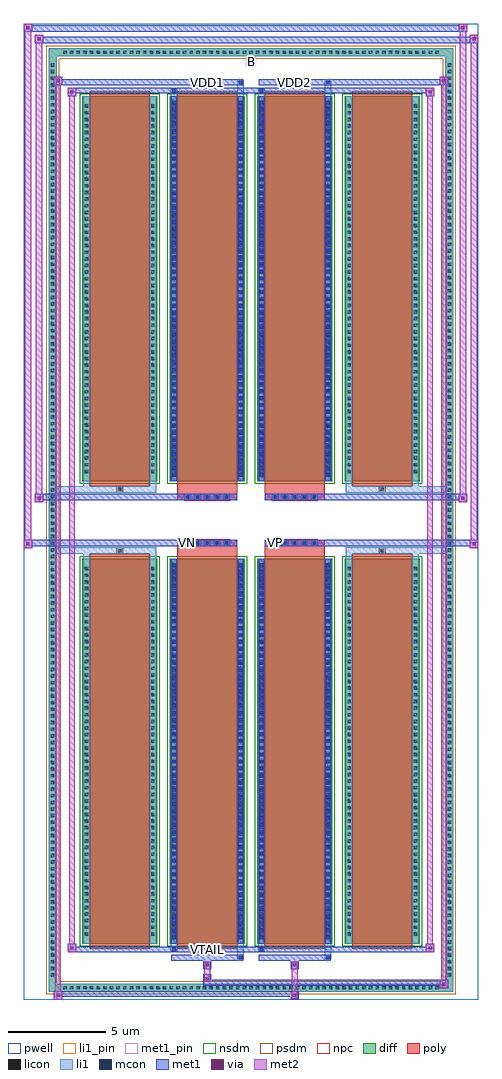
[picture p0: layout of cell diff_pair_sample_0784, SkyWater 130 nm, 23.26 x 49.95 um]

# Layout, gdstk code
import gdstk
lib = gdstk.Library(unit=1e-6, precision=5e-09)
def R(c, l, rs):  # rectangles x0, y0, x1, y1
    for r in rs: c.add(gdstk.rectangle(r[:2], r[2:], *l))
def A(c, l, x, y, w, h, nx, ny, dx, dy):  # array of equal rectangles
    R(c, l, [(x+i*dx, y+j*dy, x+i*dx+w, y+j*dy+h) for i in range(nx) for j in range(ny)])
def P(c, l, *ps):  # polygons
    for p in ps: c.add(gdstk.Polygon(p, *l))
pwell = (64, 44)
diff = (65, 20)
poly = (66, 20)
licon = (66, 44)
li1_pin = (67, 16)
li1 = (67, 20)
mcon = (67, 44)
met1_pin = (68, 16)
met1 = (68, 20)
via = (68, 44)
met2 = (69, 20)
nsdm = (93, 44)
psdm = (94, 20)
npc = (95, 20)

diff_pair_sample_0784 = lib.new_cell('diff_pair_sample_0784')
R(diff_pair_sample_0784, pwell, [(-11.63,-24.54,11.63,25.41), (-8.95,-22.73,-0.01,-0.805), (0.01,-22.73,8.95,-0.805), (-8.95,0.805,-0.01,22.73), (0.01,0.805,8.95,22.73)])
A(diff_pair_sample_0784, diff, -9.725, -24.14, 0.41, 0.41, 57, 2, 0.34, 47.87)
A(diff_pair_sample_0784, diff, -10.36, -23.495, 0.41, 0.41, 1, 138, 0, 0.34)
A(diff_pair_sample_0784, diff, 9.95, -23.495, 0.41, 0.41, 1, 138, 0, 0.34)
A(diff_pair_sample_0784, diff, -8.64, -21.685, 3.84, 19.7, 4, 2, 4.48, 23.67)
R(diff_pair_sample_0784, diff, [(-9.725,-24.14,9.725,-23.73), (-10.36,-23.495,-9.95,23.495), (9.95,-23.495,10.36,23.495), (-9.725,23.73,9.725,24.14)])
P(diff_pair_sample_0784, diff, [(10.36,24.14),(-10.36,24.14),(-10.36,-23.73),(-9.95,-23.73),(-9.95,23.73),(9.95,23.73),(9.95,-23.73),(-9.95,-23.73),(-10.36,-23.73),(-10.36,-24.14),(10.36,-24.14)])
A(diff_pair_sample_0784, poly, -8.25, -21.935, 3.06, 20.2, 4, 2, 4.48, 23.67)
A(diff_pair_sample_0784, poly, -3.405, -1.335, 0.33, 0.33, 5, 2, 0.5, 2.34)
A(diff_pair_sample_0784, poly, 1.075, -1.335, 0.33, 0.33, 5, 2, 0.5, 2.34)
R(diff_pair_sample_0784, poly, [(-6.885,-1.735,-6.555,-1.405), (-6.885,-1.735,-6.555,-1.405), (-3.77,-1.735,-0.71,-1.335), (0.71,-1.735,3.77,-1.335), (6.555,-1.735,6.885,-1.405), (6.555,-1.735,6.885,-1.405), (-3.77,-1.335,-0.71,-1.005), (0.71,-1.335,3.77,-1.005), (-3.77,1.005,-0.71,1.335), (0.71,1.005,3.77,1.335), (-3.77,1.335,-0.71,1.735), (0.71,1.335,3.77,1.735), (-6.885,1.405,-6.555,1.735), (-6.885,1.405,-6.555,1.735), (6.555,1.405,6.885,1.735), (6.555,1.405,6.885,1.735)])
A(diff_pair_sample_0784, licon, -9.605, -24.02, 0.17, 0.17, 57, 2, 0.34, 47.87)
A(diff_pair_sample_0784, licon, -10.24, -23.375, 0.17, 0.17, 1, 138, 0, 0.34)
A(diff_pair_sample_0784, licon, 10.07, -23.375, 0.17, 0.17, 1, 138, 0, 0.34)
A(diff_pair_sample_0784, licon, -8.5, -21.27, 0.17, 0.17, 1, 56, 0, 0.34)
A(diff_pair_sample_0784, licon, -5.11, -21.27, 0.17, 0.17, 1, 56, 0, 0.34)
A(diff_pair_sample_0784, licon, -4.02, -21.27, 0.17, 0.17, 1, 56, 0, 0.34)
A(diff_pair_sample_0784, licon, -0.63, -21.27, 0.17, 0.17, 1, 56, 0, 0.34)
A(diff_pair_sample_0784, licon, 0.46, -21.27, 0.17, 0.17, 1, 56, 0, 0.34)
A(diff_pair_sample_0784, licon, 3.85, -21.27, 0.17, 0.17, 1, 56, 0, 0.34)
A(diff_pair_sample_0784, licon, 4.94, -21.27, 0.17, 0.17, 1, 56, 0, 0.34)
A(diff_pair_sample_0784, licon, 8.33, -21.27, 0.17, 0.17, 1, 56, 0, 0.34)
A(diff_pair_sample_0784, licon, -3.325, -1.255, 0.17, 0.17, 5, 2, 0.5, 2.34)
A(diff_pair_sample_0784, licon, 1.155, -1.255, 0.17, 0.17, 5, 2, 0.5, 2.34)
A(diff_pair_sample_0784, licon, -8.5, 2.4, 0.17, 0.17, 1, 56, 0, 0.34)
A(diff_pair_sample_0784, licon, -5.11, 2.4, 0.17, 0.17, 1, 56, 0, 0.34)
A(diff_pair_sample_0784, licon, -4.02, 2.4, 0.17, 0.17, 1, 56, 0, 0.34)
A(diff_pair_sample_0784, licon, -0.63, 2.4, 0.17, 0.17, 1, 56, 0, 0.34)
A(diff_pair_sample_0784, licon, 0.46, 2.4, 0.17, 0.17, 1, 56, 0, 0.34)
A(diff_pair_sample_0784, licon, 3.85, 2.4, 0.17, 0.17, 1, 56, 0, 0.34)
A(diff_pair_sample_0784, licon, 4.94, 2.4, 0.17, 0.17, 1, 56, 0, 0.34)
A(diff_pair_sample_0784, licon, 8.33, 2.4, 0.17, 0.17, 1, 56, 0, 0.34)
R(diff_pair_sample_0784, licon, [(-6.805,-1.655,-6.635,-1.485), (6.635,-1.655,6.805,-1.485), (-6.805,1.485,-6.635,1.655), (6.635,1.485,6.805,1.655)])
R(diff_pair_sample_0784, li1_pin, [(-0.25,23.23,0.25,23.73)])
A(diff_pair_sample_0784, li1, -9.685, -24.1, 0.33, 0.33, 57, 2, 0.34, 47.87)
A(diff_pair_sample_0784, li1, -10.32, -23.455, 0.33, 0.33, 1, 138, 0, 0.34)
A(diff_pair_sample_0784, li1, 9.99, -23.455, 0.33, 0.33, 1, 138, 0, 0.34)
A(diff_pair_sample_0784, li1, -4.02, -21.46, 0.17, 0.17, 1, 54, 0, 0.36)
A(diff_pair_sample_0784, li1, -0.63, -21.46, 0.17, 0.17, 1, 54, 0, 0.36)
A(diff_pair_sample_0784, li1, 0.46, -21.46, 0.17, 0.17, 1, 54, 0, 0.36)
A(diff_pair_sample_0784, li1, 3.85, -21.46, 0.17, 0.17, 1, 54, 0, 0.36)
A(diff_pair_sample_0784, li1, -8.58, -21.35, 0.33, 0.33, 1, 56, 0, 0.34)
A(diff_pair_sample_0784, li1, -5.19, -21.35, 0.33, 0.33, 1, 56, 0, 0.34)
A(diff_pair_sample_0784, li1, -4.1, -21.35, 0.33, 0.33, 1, 56, 0, 0.34)
A(diff_pair_sample_0784, li1, -0.71, -21.35, 0.33, 0.33, 1, 56, 0, 0.34)
A(diff_pair_sample_0784, li1, 0.38, -21.35, 0.33, 0.33, 1, 56, 0, 0.34)
A(diff_pair_sample_0784, li1, 3.77, -21.35, 0.33, 0.33, 1, 56, 0, 0.34)
A(diff_pair_sample_0784, li1, 4.86, -21.35, 0.33, 0.33, 1, 56, 0, 0.34)
A(diff_pair_sample_0784, li1, 8.25, -21.35, 0.33, 0.33, 1, 56, 0, 0.34)
A(diff_pair_sample_0784, li1, -3.405, -1.335, 0.33, 0.33, 5, 2, 0.5, 2.34)
A(diff_pair_sample_0784, li1, 1.075, -1.335, 0.33, 0.33, 5, 2, 0.5, 2.34)
A(diff_pair_sample_0784, li1, -4.02, 2.21, 0.17, 0.17, 1, 54, 0, 0.36)
A(diff_pair_sample_0784, li1, -0.63, 2.21, 0.17, 0.17, 1, 54, 0, 0.36)
A(diff_pair_sample_0784, li1, 0.46, 2.21, 0.17, 0.17, 1, 54, 0, 0.36)
A(diff_pair_sample_0784, li1, 3.85, 2.21, 0.17, 0.17, 1, 54, 0, 0.36)
A(diff_pair_sample_0784, li1, -8.58, 2.32, 0.33, 0.33, 1, 56, 0, 0.34)
A(diff_pair_sample_0784, li1, -5.19, 2.32, 0.33, 0.33, 1, 56, 0, 0.34)
A(diff_pair_sample_0784, li1, -4.1, 2.32, 0.33, 0.33, 1, 56, 0, 0.34)
A(diff_pair_sample_0784, li1, -0.71, 2.32, 0.33, 0.33, 1, 56, 0, 0.34)
A(diff_pair_sample_0784, li1, 0.38, 2.32, 0.33, 0.33, 1, 56, 0, 0.34)
A(diff_pair_sample_0784, li1, 3.77, 2.32, 0.33, 0.33, 1, 56, 0, 0.34)
A(diff_pair_sample_0784, li1, 4.86, 2.32, 0.33, 0.33, 1, 56, 0, 0.34)
A(diff_pair_sample_0784, li1, 8.25, 2.32, 0.33, 0.33, 1, 56, 0, 0.34)
R(diff_pair_sample_0784, li1, [(-10.36,-24.14,-9.95,-23.73), (-10.36,-24.14,-9.95,-23.73), (-9.95,-24.14,9.95,-23.73), (9.95,-24.14,10.36,-23.73), (9.95,-24.14,10.36,-23.73), (-10.36,-23.73,-9.95,23.73), (9.95,-23.73,10.36,23.73), (-0.71,-22.49,-0.38,-21.685), (-0.63,-22.49,-0.46,-22.32), (3.77,-22.49,4.1,-21.685), (3.85,-22.49,4.02,-22.32), (-4.1,-22.06,-3.77,-21.685), (-4.02,-22.06,-3.85,-21.89), (0.38,-22.06,0.71,-21.685), (0.46,-22.06,0.63,-21.89), (-8.58,-21.685,-8.25,-1.985), (-5.19,-21.685,-4.86,-1.985), (-4.1,-21.685,-3.77,-1.985), (-0.71,-21.685,-0.38,-1.985), (0.38,-21.685,0.71,-1.985), (3.77,-21.685,4.1,-1.985), (4.86,-21.685,5.19,-1.985), (8.25,-21.685,8.58,-1.985), (-4.02,-21.46,-3.85,-2.21), (-0.63,-21.46,-0.46,-2.21), (0.46,-21.46,0.63,-2.21), (3.85,-21.46,4.02,-2.21), (-8.58,-1.985,-8.25,-1.405), (-5.19,-1.985,-4.86,-1.405), (4.86,-1.985,5.19,-1.405), (8.25,-1.985,8.58,-1.405), (-10.36,-1.735,-6.885,-1.405), (-8.58,-1.735,-6.885,-1.405), (-6.885,-1.735,-6.555,-1.405), (-6.555,-1.735,-4.86,-1.405), (4.86,-1.735,6.555,-1.405), (6.555,-1.735,6.885,-1.405), (6.555,-1.735,10.36,-1.405), (6.885,-1.735,8.58,-1.405), (-10.36,1.405,-6.885,1.735), (-8.58,1.405,-6.885,1.735), (-8.58,1.405,-8.25,1.985), (-6.885,1.405,-6.555,1.735), (-6.555,1.405,-4.86,1.735), (-5.19,1.405,-4.86,1.985), (4.86,1.405,6.555,1.735), (4.86,1.405,5.19,1.985), (6.555,1.405,6.885,1.735), (6.555,1.405,10.36,1.735), (6.885,1.405,8.58,1.735), (8.25,1.405,8.58,1.985), (-8.58,1.985,-8.25,21.685), (-5.19,1.985,-4.86,21.685), (-4.1,1.985,-3.77,21.685), (-0.71,1.985,-0.38,21.685), (0.38,1.985,0.71,21.685), (3.77,1.985,4.1,21.685), (4.86,1.985,5.19,21.685), (8.25,1.985,8.58,21.685), (-4.02,2.21,-3.85,21.46), (-0.63,2.21,-0.46,21.46), (0.46,2.21,0.63,21.46), (3.85,2.21,4.02,21.46), (-4.1,21.685,-3.77,22.06), (-0.71,21.685,-0.38,22.49), (0.38,21.685,0.71,22.06), (3.77,21.685,4.1,22.49), (-4.02,21.89,-3.85,22.06), (0.46,21.89,0.63,22.06), (-0.63,22.32,-0.46,22.49), (3.85,22.32,4.02,22.49), (-10.36,23.73,-9.95,24.14), (-10.36,23.73,-9.95,24.14), (-9.95,23.73,9.95,24.14), (9.95,23.73,10.36,24.14), (9.95,23.73,10.36,24.14)])
A(diff_pair_sample_0784, mcon, -4.02, -21.46, 0.17, 0.17, 1, 54, 0, 0.36)
A(diff_pair_sample_0784, mcon, -0.63, -21.46, 0.17, 0.17, 1, 54, 0, 0.36)
A(diff_pair_sample_0784, mcon, 0.46, -21.46, 0.17, 0.17, 1, 54, 0, 0.36)
A(diff_pair_sample_0784, mcon, 3.85, -21.46, 0.17, 0.17, 1, 54, 0, 0.36)
A(diff_pair_sample_0784, mcon, -3.325, -1.255, 0.17, 0.17, 5, 2, 0.5, 2.34)
A(diff_pair_sample_0784, mcon, 1.155, -1.255, 0.17, 0.17, 5, 2, 0.5, 2.34)
A(diff_pair_sample_0784, mcon, -4.02, 2.21, 0.17, 0.17, 1, 54, 0, 0.36)
A(diff_pair_sample_0784, mcon, -0.63, 2.21, 0.17, 0.17, 1, 54, 0, 0.36)
A(diff_pair_sample_0784, mcon, 0.46, 2.21, 0.17, 0.17, 1, 54, 0, 0.36)
A(diff_pair_sample_0784, mcon, 3.85, 2.21, 0.17, 0.17, 1, 54, 0, 0.36)
R(diff_pair_sample_0784, mcon, [(-0.63,-22.49,-0.46,-22.32), (3.85,-22.49,4.02,-22.32), (-4.02,-22.06,-3.85,-21.89), (0.46,-22.06,0.63,-21.89), (-4.02,21.89,-3.85,22.06), (0.46,21.89,0.63,22.06), (-0.63,22.32,-0.46,22.49), (3.85,22.32,4.02,22.49)])
R(diff_pair_sample_0784, met1_pin, [(-2.375,-22.1,-2.105,-21.83), (-3.375,-1.295,-3.105,-1.025), (1.105,-1.295,1.375,-1.025), (-2.375,22.28,-2.105,22.55), (2.105,22.28,2.375,22.55)])
A(diff_pair_sample_0784, met1, -4.08, -21.52, 0.29, 0.29, 1, 54, 0, 0.36)
A(diff_pair_sample_0784, met1, -0.69, -21.52, 0.29, 0.29, 1, 54, 0, 0.36)
A(diff_pair_sample_0784, met1, 0.4, -21.52, 0.29, 0.29, 1, 54, 0, 0.36)
A(diff_pair_sample_0784, met1, 3.79, -21.52, 0.29, 0.29, 1, 54, 0, 0.36)
A(diff_pair_sample_0784, met1, -3.385, -1.315, 0.29, 0.29, 5, 2, 0.5, 2.34)
A(diff_pair_sample_0784, met1, 1.095, -1.315, 0.29, 0.29, 5, 2, 0.5, 2.34)
A(diff_pair_sample_0784, met1, -4.08, 2.15, 0.29, 0.29, 1, 54, 0, 0.36)
A(diff_pair_sample_0784, met1, -0.69, 2.15, 0.29, 0.29, 1, 54, 0, 0.36)
A(diff_pair_sample_0784, met1, 0.4, 2.15, 0.29, 0.29, 1, 54, 0, 0.36)
A(diff_pair_sample_0784, met1, 3.79, 2.15, 0.29, 0.29, 1, 54, 0, 0.36)
R(diff_pair_sample_0784, met1, [(-10.09,-24.54,-9.66,-24.11), (2.025,-24.54,2.455,-24.11), (-10.09,-24.4,2.455,-24.11), (9.66,-23.97,10.09,-23.54), (-2.455,-23.83,10.09,-23.54), (-2.455,-23.69,-2.025,-23.26), (-2.455,-22.98,-2.025,-22.55), (2.025,-22.98,2.455,-22.55), (-4.08,-22.55,-0.4,-22.26), (-0.69,-22.55,-0.4,-22.26), (0.4,-22.55,4.08,-22.26), (3.79,-22.55,4.08,-22.26), (-9.38,-22.12,-8.95,-21.69), (-9.38,-22.12,-4.08,-21.83), (-4.08,-22.12,-3.79,-21.83), (-4.08,-22.12,-0.4,-21.83), (-0.4,-22.12,0.4,-21.83), (0.4,-22.12,0.69,-21.83), (0.4,-22.12,4.08,-21.83), (4.08,-22.12,9.38,-21.83), (8.95,-22.12,9.38,-21.69), (-4.08,-21.685,-3.79,-1.985), (-0.69,-21.685,-0.4,-1.985), (0.4,-21.685,0.69,-1.985), (3.79,-21.685,4.08,-1.985), (-11.63,-1.435,-11.2,-1.005), (11.2,-1.435,11.63,-1.005), (-11.63,-1.335,-0.71,-1.005), (-3.77,-1.335,-0.71,-1.005), (0.71,-1.335,3.77,-1.005), (0.71,-1.335,11.63,-1.005), (-11.06,0.905,-10.63,1.335), (10.63,0.905,11.06,1.335), (-11.06,1.005,-3.77,1.335), (-3.77,1.005,-0.71,1.335), (0.71,1.005,3.77,1.335), (3.77,1.005,11.06,1.335), (-4.08,1.985,-3.79,21.685), (-0.69,1.985,-0.4,21.685), (0.4,1.985,0.69,21.685), (3.79,1.985,4.08,21.685), (-9.38,21.69,-8.95,22.12), (8.95,21.69,9.38,22.12), (-9.38,21.83,-4.08,22.12), (-4.08,21.83,-3.79,22.12), (-4.08,21.83,-0.4,22.12), (-0.4,21.83,0.4,22.12), (0.4,21.83,0.69,22.12), (0.4,21.83,4.08,22.12), (4.08,21.83,9.38,22.12), (-10.09,22.26,-9.66,22.69), (-10.09,22.26,-4.08,22.55), (-4.08,22.26,-0.4,22.55), (-0.69,22.26,-0.4,22.55), (0.4,22.26,4.08,22.55), (3.79,22.26,4.08,22.55), (4.08,22.26,10.09,22.55), (9.66,22.26,10.09,22.69), (-11.06,24.41,-10.63,24.84), (-11.06,24.41,-8.95,24.74), (-8.95,24.41,8.95,24.74), (8.95,24.41,11.63,24.74), (11.2,24.41,11.63,24.84), (-11.63,24.98,-11.2,25.41), (-11.63,24.98,-8.95,25.31), (-8.95,24.98,8.95,25.31), (8.95,24.98,11.06,25.31), (10.63,24.98,11.06,25.41)])
R(diff_pair_sample_0784, via, [(-9.95,-24.4,-9.8,-24.25), (2.165,-24.4,2.315,-24.25), (9.8,-23.83,9.95,-23.68), (-2.315,-23.55,-2.165,-23.4), (-2.315,-22.84,-2.165,-22.69), (2.165,-22.84,2.315,-22.69), (-9.24,-21.98,-9.09,-21.83), (9.09,-21.98,9.24,-21.83), (-11.49,-1.295,-11.34,-1.145), (11.34,-1.295,11.49,-1.145), (-10.92,1.045,-10.77,1.195), (10.77,1.045,10.92,1.195), (-9.24,21.83,-9.09,21.98), (9.09,21.83,9.24,21.98), (-9.95,22.4,-9.8,22.55), (9.8,22.4,9.95,22.55), (-10.92,24.55,-10.77,24.7), (11.34,24.55,11.49,24.7), (-11.49,25.12,-11.34,25.27), (10.77,25.12,10.92,25.27)])
R(diff_pair_sample_0784, met2, [(-10.09,-24.54,-9.66,-24.11), (-10.02,-24.54,-9.73,22.69), (-9.73,-24.54,-9.66,-24.11), (-10.04,-24.49,-9.71,-24.16), (2.075,-24.49,2.405,-24.16), (2.075,-24.16,2.405,-22.93), (9.66,-23.97,10.09,-23.54), (9.73,-23.97,10.02,22.69), (10.02,-23.97,10.09,-23.54), (9.71,-23.92,10.04,-23.59), (-2.405,-23.64,-2.075,-23.31), (-2.405,-23.31,-2.075,-22.93), (-2.405,-22.93,-2.075,-22.6), (2.075,-22.93,2.405,-22.6), (-9.38,-22.12,-8.95,-21.69), (-9.31,-22.12,-9.02,22.12), (-9.02,-22.12,-8.95,-21.69), (8.95,-22.12,9.38,-21.69), (9.02,-22.12,9.31,22.12), (9.31,-22.12,9.38,-21.69), (-9.33,-22.07,-9,-21.74), (9,-22.07,9.33,-21.74), (-11.63,-1.435,-11.2,-1.005), (-11.58,-1.435,-11.25,25.41), (-11.25,-1.435,-11.2,-1.005), (11.2,-1.435,11.63,-1.005), (11.25,-1.435,11.58,24.84), (11.58,-1.435,11.63,-1.005), (-11.58,-1.385,-11.25,-1.055), (11.25,-1.385,11.58,-1.055), (-11.06,0.905,-10.63,1.335), (-11.01,0.905,-10.68,24.84), (-10.68,0.905,-10.63,1.335), (10.63,0.905,11.06,1.335), (10.68,0.905,11.01,25.41), (11.01,0.905,11.06,1.335), (-11.01,0.955,-10.68,1.285), (10.68,0.955,11.01,1.285), (-9.38,21.69,-8.95,22.12), (-9.02,21.69,-8.95,22.12), (8.95,21.69,9.38,22.12), (9.31,21.69,9.38,22.12), (-9.33,21.74,-9,22.07), (9,21.74,9.33,22.07), (-10.09,22.26,-9.66,22.69), (-9.73,22.26,-9.66,22.69), (9.66,22.26,10.09,22.69), (10.02,22.26,10.09,22.69), (-10.04,22.31,-9.71,22.64), (9.71,22.31,10.04,22.64), (-11.06,24.41,-10.63,24.84), (-10.68,24.41,-10.63,24.84), (11.2,24.41,11.63,24.84), (11.58,24.41,11.63,24.84), (-11.01,24.46,-10.68,24.79), (11.25,24.46,11.58,24.79), (-11.63,24.98,-11.2,25.41), (-11.25,24.98,-11.2,25.41), (10.63,24.98,11.06,25.41), (11.01,24.98,11.06,25.41), (-11.58,25.03,-11.25,25.36), (10.68,25.03,11.01,25.36)])
A(diff_pair_sample_0784, nsdm, -8.77, -21.815, 4.1, 19.96, 4, 2, 4.48, 23.67)
P(diff_pair_sample_0784, psdm, [(10.49,24.27),(-10.49,24.27),(-10.49,-23.6),(-9.82,-23.6),(-9.82,23.6),(9.82,23.6),(9.82,-23.6),(-9.82,-23.6),(-10.49,-23.6),(-10.49,-24.27),(10.49,-24.27)])
A(diff_pair_sample_0784, npc, -3.425, -1.355, 0.37, 0.37, 5, 2, 0.5, 2.34)
A(diff_pair_sample_0784, npc, 1.055, -1.355, 0.37, 0.37, 5, 2, 0.5, 2.34)
R(diff_pair_sample_0784, npc, [(-6.905,-1.755,-6.535,-1.385), (6.535,-1.755,6.905,-1.385), (-3.425,-1.355,-2.555,-0.985), (-3.425,-1.355,-2.555,-0.985), (-2.925,-1.355,-2.055,-0.985), (-2.925,-1.355,-2.055,-0.985), (-2.425,-1.355,-1.555,-0.985), (-2.425,-1.355,-1.555,-0.985), (-1.925,-1.355,-1.055,-0.985), (-1.925,-1.355,-1.055,-0.985), (1.055,-1.355,1.925,-0.985), (1.055,-1.355,1.925,-0.985), (1.555,-1.355,2.425,-0.985), (1.555,-1.355,2.425,-0.985), (2.055,-1.355,2.925,-0.985), (2.055,-1.355,2.925,-0.985), (2.555,-1.355,3.425,-0.985), (2.555,-1.355,3.425,-0.985), (-3.425,0.985,-2.555,1.355), (-3.425,0.985,-2.555,1.355), (-2.925,0.985,-2.055,1.355), (-2.925,0.985,-2.055,1.355), (-2.425,0.985,-1.555,1.355), (-2.425,0.985,-1.555,1.355), (-1.925,0.985,-1.055,1.355), (-1.925,0.985,-1.055,1.355), (1.055,0.985,1.925,1.355), (1.055,0.985,1.925,1.355), (1.555,0.985,2.425,1.355), (1.555,0.985,2.425,1.355), (2.055,0.985,2.925,1.355), (2.055,0.985,2.925,1.355), (2.555,0.985,3.425,1.355), (2.555,0.985,3.425,1.355), (-6.905,1.385,-6.535,1.755), (6.535,1.385,6.905,1.755)])
diff_pair_sample_0784.add(gdstk.Label('VTAIL', (-2.24,-21.965), layer=68, texttype=5))
diff_pair_sample_0784.add(gdstk.Label('VN', (-3.24,-1.16), layer=68, texttype=5))
diff_pair_sample_0784.add(gdstk.Label('VP', (1.24,-1.16), layer=68, texttype=5))
diff_pair_sample_0784.add(gdstk.Label('B', (0,23.48), layer=67, texttype=5))
diff_pair_sample_0784.add(gdstk.Label('VDD2', (2.24,22.415), layer=68, texttype=5))
diff_pair_sample_0784.add(gdstk.Label('VDD1', (-2.24,22.415), layer=68, texttype=5))

lib.write_gds('diff_pair_sample_0784.gds')
